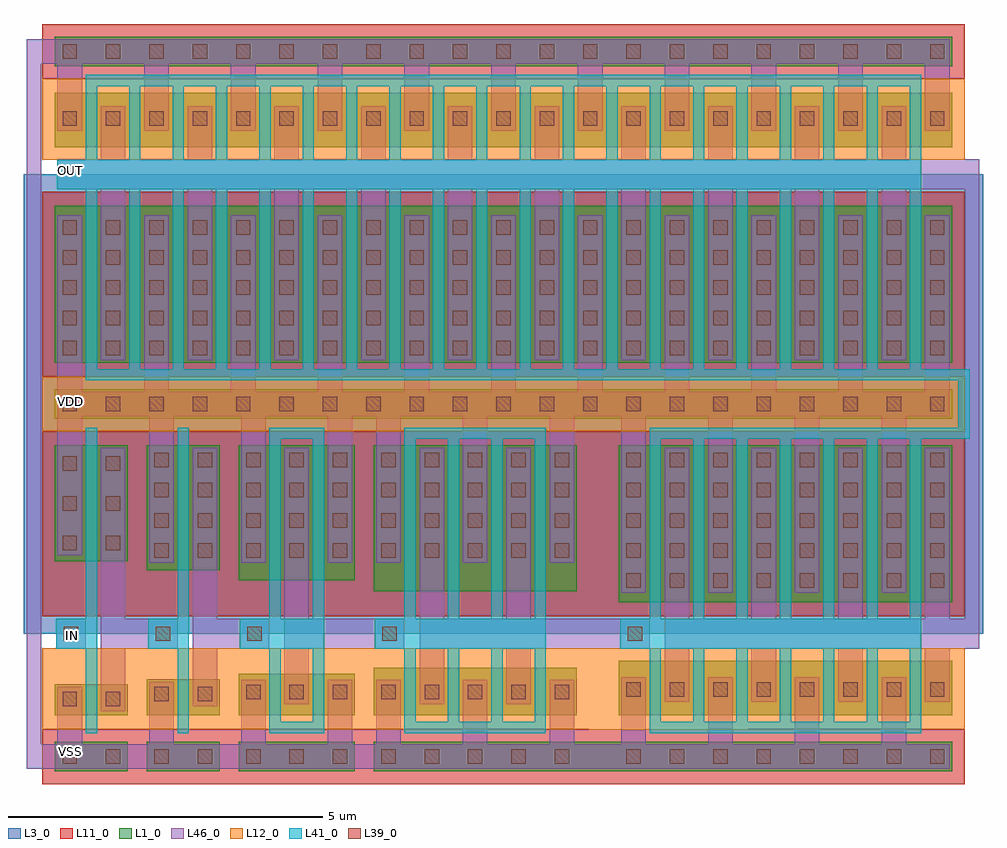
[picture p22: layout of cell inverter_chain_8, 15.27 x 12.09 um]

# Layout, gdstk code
import gdstk
lib = gdstk.Library(unit=1e-6, precision=1e-09)
def R(c, l, rs):  # rectangles x0, y0, x1, y1
    for r in rs: c.add(gdstk.rectangle(r[:2], r[2:], *l))
def A(c, l, x, y, w, h, nx, ny, dx, dy):  # array of equal rectangles
    R(c, l, [(x+i*dx, y+j*dy, x+i*dx+w, y+j*dy+h) for i in range(nx) for j in range(ny)])
L1_0 = (1, 0)
L3_0 = (3, 0)
L11_0 = (11, 0)
L12_0 = (12, 0)
L39_0 = (39, 0)
L41_0 = (41, 0)
L46_0 = (46, 0)

inverter_chain_8 = lib.new_cell('inverter_chain_8')
A(inverter_chain_8, L1_0, 2.6, 3.415, 1.85, 0.47, 7, 1, 1.38, 0)
A(inverter_chain_8, L1_0, 2.6, 4.305, 1.85, 2.5, 10, 1, 1.38, 0)
A(inverter_chain_8, L1_0, 2.6, 7.735, 1.85, 0.87, 10, 1, 1.38, 0)
A(inverter_chain_8, L1_0, 2.6, 9.025, 1.85, 0.47, 10, 1, 1.38, 0)
R(inverter_chain_8, L1_0, [(2.6,-2.195,3.76,-1.725), (4.06,-2.195,5.22,-1.725), (5.52,-2.195,7.37,-1.725), (7.67,-2.195,9.52,-1.725), (9.05,-2.195,10.9,-1.725), (10.88,-2.195,12.73,-1.725), (11.57,-2.195,13.42,-1.725), (12.95,-2.195,15.49,-1.725), (15.02,-2.195,16.87,-1.725), (2.6,-1.305,3.76,-0.805), (4.06,-1.305,5.22,-0.725), (5.52,-1.305,7.37,-0.645), (7.67,-1.305,9.52,-0.545), (9.05,-1.305,10.9,-0.545), (11.57,-1.305,13.42,-0.435), (12.95,-1.305,15.49,-0.435), (15.02,-1.305,16.87,-0.435), (11.57,0.495,13.42,2.995), (12.95,0.495,15.49,2.995), (15.02,0.495,16.87,2.995), (7.67,0.675,9.52,2.995), (9.05,0.675,10.9,2.995), (5.52,0.845,7.37,2.995), (4.06,1.005,5.22,2.995), (2.6,1.145,3.76,2.995), (11.57,3.415,13.42,3.885), (12.95,3.415,15.49,3.885), (15.02,3.415,16.87,3.885)])
A(inverter_chain_8, L3_0, 2.1, -0.005, 2.85, 7.31, 10, 1, 1.38, 0)
A(inverter_chain_8, L11_0, 2.4, 4.085, 2.25, 2.94, 10, 1, 1.38, 0)
A(inverter_chain_8, L11_0, 2.4, 8.825, 2.25, 0.87, 10, 1, 1.38, 0)
R(inverter_chain_8, L11_0, [(2.4,-2.395,3.96,-1.525), (3.86,-2.395,5.42,-1.525), (5.32,-2.395,7.57,-1.525), (7.47,-2.395,9.72,-1.525), (8.85,-2.395,11.1,-1.525), (10.68,-2.395,12.93,-1.525), (11.37,-2.395,13.62,-1.525), (12.75,-2.395,15,-1.525), (14.82,-2.395,17.07,-1.525), (15,-2.395,15.69,-1.525), (2.4,0.275,3.96,3.215), (3.86,0.275,5.42,3.215), (5.32,0.275,7.57,3.215), (7.47,0.275,9.72,3.215), (8.85,0.275,11.1,3.215), (10.68,0.275,12.93,3.215), (11.37,0.275,13.62,3.215), (11.37,0.275,15.69,3.215), (12.75,0.275,15,3.215), (14.82,0.275,17.07,3.215)])
A(inverter_chain_8, L12_0, 2.4, 3.215, 2.25, 0.87, 10, 1, 1.38, 0)
A(inverter_chain_8, L12_0, 2.4, 7.535, 2.25, 1.29, 10, 1, 1.38, 0)
R(inverter_chain_8, L12_0, [(11.1,-1.53,13.62,-0.235), (2.4,-1.525,4.65,-0.235), (2.4,-1.525,3.96,-0.235), (3.86,-1.525,5.42,-0.235), (5.32,-1.525,7.57,-0.235), (7.47,-1.525,9.72,-0.235), (8.85,-1.525,11.1,-0.235), (11.37,-1.525,15.69,-0.235), (12.75,-1.525,15,-0.235), (14.82,-1.525,17.07,-0.235)])
A(inverter_chain_8, L39_0, 5.64, -2.075, 0.23, 0.23, 3, 2, 0.69, 1.03)
A(inverter_chain_8, L39_0, 7.79, -2.075, 0.23, 0.23, 5, 2, 0.69, 1.03)
A(inverter_chain_8, L39_0, 11.69, -2.075, 0.23, 0.23, 3, 2, 0.69, 1.07)
A(inverter_chain_8, L39_0, 13.07, -2.075, 0.23, 0.23, 3, 2, 0.69, 1.07)
A(inverter_chain_8, L39_0, 14.45, -2.075, 0.23, 0.23, 4, 2, 0.69, 1.07)
A(inverter_chain_8, L39_0, 2.74, -0.12, 0.23, 0.23, 3, 1, 1.46, 0)
A(inverter_chain_8, L39_0, 11.69, 0.725, 0.23, 0.23, 3, 5, 0.69, 0.48)
A(inverter_chain_8, L39_0, 13.07, 0.725, 0.23, 0.23, 3, 5, 0.69, 0.48)
A(inverter_chain_8, L39_0, 14.45, 0.725, 0.23, 0.23, 4, 5, 0.69, 0.48)
A(inverter_chain_8, L39_0, 4.18, 1.205, 0.23, 0.23, 1, 4, 0, 0.48)
A(inverter_chain_8, L39_0, 4.87, 1.205, 0.23, 0.23, 1, 4, 0, 0.48)
A(inverter_chain_8, L39_0, 5.64, 1.205, 0.23, 0.23, 3, 4, 0.69, 0.48)
A(inverter_chain_8, L39_0, 7.79, 1.205, 0.23, 0.23, 5, 4, 0.69, 0.48)
A(inverter_chain_8, L39_0, 2.72, 1.325, 0.23, 0.23, 1, 3, 0, 0.63)
A(inverter_chain_8, L39_0, 3.41, 1.325, 0.23, 0.23, 1, 3, 0, 0.63)
A(inverter_chain_8, L39_0, 2.72, 3.535, 0.23, 0.23, 3, 2, 0.69, 0.89)
A(inverter_chain_8, L39_0, 4.1, 3.535, 0.23, 0.23, 3, 2, 0.69, 0.89)
A(inverter_chain_8, L39_0, 5.48, 3.535, 0.23, 0.23, 3, 2, 0.69, 0.89)
A(inverter_chain_8, L39_0, 6.86, 3.535, 0.23, 0.23, 3, 2, 0.69, 0.89)
A(inverter_chain_8, L39_0, 8.24, 3.535, 0.23, 0.23, 3, 2, 0.69, 0.89)
A(inverter_chain_8, L39_0, 9.62, 3.535, 0.23, 0.23, 3, 2, 0.69, 0.89)
A(inverter_chain_8, L39_0, 11.69, 3.535, 0.23, 0.23, 3, 1, 0.69, 0)
A(inverter_chain_8, L39_0, 13.07, 3.535, 0.23, 0.23, 3, 1, 0.69, 0)
A(inverter_chain_8, L39_0, 14.45, 3.535, 0.23, 0.23, 4, 1, 0.69, 0)
A(inverter_chain_8, L39_0, 11, 4.425, 0.23, 0.23, 3, 5, 0.69, 0.48)
A(inverter_chain_8, L39_0, 12.38, 4.425, 0.23, 0.23, 3, 5, 0.69, 0.48)
A(inverter_chain_8, L39_0, 13.76, 4.425, 0.23, 0.23, 5, 5, 0.69, 0.48)
A(inverter_chain_8, L39_0, 2.72, 4.905, 0.23, 0.23, 3, 4, 0.69, 0.48)
A(inverter_chain_8, L39_0, 4.1, 4.905, 0.23, 0.23, 3, 4, 0.69, 0.48)
A(inverter_chain_8, L39_0, 5.48, 4.905, 0.23, 0.23, 3, 4, 0.69, 0.48)
A(inverter_chain_8, L39_0, 6.86, 4.905, 0.23, 0.23, 3, 4, 0.69, 0.48)
A(inverter_chain_8, L39_0, 8.24, 4.905, 0.23, 0.23, 3, 4, 0.69, 0.48)
A(inverter_chain_8, L39_0, 9.62, 4.905, 0.23, 0.23, 3, 4, 0.69, 0.48)
A(inverter_chain_8, L39_0, 2.72, 8.075, 0.23, 0.23, 3, 2, 0.69, 1.07)
A(inverter_chain_8, L39_0, 4.1, 8.075, 0.23, 0.23, 3, 2, 0.69, 1.07)
A(inverter_chain_8, L39_0, 5.48, 8.075, 0.23, 0.23, 3, 2, 0.69, 1.07)
A(inverter_chain_8, L39_0, 6.86, 8.075, 0.23, 0.23, 3, 2, 0.69, 1.07)
A(inverter_chain_8, L39_0, 8.24, 8.075, 0.23, 0.23, 3, 2, 0.69, 1.07)
A(inverter_chain_8, L39_0, 9.62, 8.075, 0.23, 0.23, 3, 2, 0.69, 1.07)
A(inverter_chain_8, L39_0, 11, 8.075, 0.23, 0.23, 3, 2, 0.69, 1.07)
A(inverter_chain_8, L39_0, 12.38, 8.075, 0.23, 0.23, 3, 2, 0.69, 1.07)
A(inverter_chain_8, L39_0, 13.76, 8.075, 0.23, 0.23, 5, 2, 0.69, 1.07)
R(inverter_chain_8, L39_0, [(2.72,-2.075,2.95,-1.845), (3.41,-2.075,3.64,-1.845), (4.18,-2.075,4.41,-1.845), (4.87,-2.075,5.1,-1.845), (2.72,-1.155,2.95,-0.925), (3.41,-1.155,3.64,-0.925), (4.18,-1.075,4.41,-0.845), (4.87,-1.075,5.1,-0.845), (7.81,-0.12,8.04,0.11), (11.71,-0.12,11.94,0.11), (11,3.535,11.23,3.765), (11.69,3.535,11.92,3.765)])
A(inverter_chain_8, L41_0, 3.09, -1.585, 0.18, 4.86, 3, 1, 1.46, 0)
A(inverter_chain_8, L41_0, 8.16, -1.585, 0.18, 4.86, 4, 1, 0.69, 0)
A(inverter_chain_8, L41_0, 8.85, -1.585, 0.18, 1.35, 3, 1, 0.69, 0)
A(inverter_chain_8, L41_0, 12.75, -1.585, 0.18, 4.86, 6, 1, 0.69, 0)
A(inverter_chain_8, L41_0, 12.75, -1.585, 0.18, 1.35, 6, 1, 0.69, 0)
A(inverter_chain_8, L41_0, 3.09, 4.025, 0.87, 0.18, 8, 1, 1.38, 0)
A(inverter_chain_8, L41_0, 3.09, 4.025, 0.18, 4.86, 20, 1, 0.69, 0)
A(inverter_chain_8, L41_0, 3.09, 4.025, 0.18, 3, 17, 1, 0.69, 0)
R(inverter_chain_8, L41_0, [(6.01,-1.585,6.88,-1.405), (6.7,-1.585,6.88,3.275), (6.7,-1.585,6.88,-0.235), (8.16,-1.585,10.41,-1.405), (9.54,-1.585,10.41,-1.405), (12.06,-1.585,12.93,-1.405), (12.06,-1.585,12.24,3.115), (12.06,-1.585,16.38,-1.405), (15.51,-1.585,16.38,-1.405), (2.62,-0.24,3.09,0.23), (4.08,-0.24,4.55,0.23), (5.54,-0.24,6.7,0.23), (7.69,-0.24,10.41,0.23), (11.59,-0.24,16.38,0.23), (6.01,3.095,6.88,3.275), (8.16,3.095,10.41,3.275), (9.54,3.095,10.41,3.275), (12.06,3.095,15.92,3.275), (15.51,3.095,17.15,3.275), (16.97,3.095,17.15,4.205), (3.09,4.025,15.92,4.205), (15.51,4.025,15.69,7.025), (15.51,4.025,17.15,4.205), (16.2,4.025,16.38,7.025), (2.64,7.07,16.2,7.535), (3.09,8.705,15.69,8.885), (15.51,8.705,16.38,8.885)])
A(inverter_chain_8, L46_0, 7.71, -2.155, 0.39, 1.42, 3, 1, 1.38, 0)
A(inverter_chain_8, L46_0, 12.3, -1.085, 0.39, 4.04, 4, 1, 1.38, 0)
A(inverter_chain_8, L46_0, 7.71, 1.125, 0.39, 2.72, 3, 1, 1.38, 0)
A(inverter_chain_8, L46_0, 2.64, 3.455, 1.77, 0.39, 7, 1, 1.38, 0)
A(inverter_chain_8, L46_0, 13.68, 3.455, 0.39, 3.2, 3, 1, 1.38, 0)
A(inverter_chain_8, L46_0, 3.33, 4.345, 0.39, 4.04, 10, 1, 1.38, 0)
A(inverter_chain_8, L46_0, 13.68, 7.995, 0.39, 1.46, 3, 1, 1.38, 0)
A(inverter_chain_8, L46_0, 4.02, 9.065, 1.77, 0.39, 9, 1, 1.38, 0)
R(inverter_chain_8, L46_0, [(2.15,-2.155,3.72,-1.765), (2.15,-2.155,2.38,9.455), (2.64,-2.155,3.03,-0.845), (2.64,-2.155,12.69,-1.765), (4.1,-2.155,4.49,-0.765), (4.1,-2.155,5.18,-1.765), (5.56,-2.155,7.33,-1.765), (5.56,-2.155,5.95,-0.735), (6.94,-2.155,7.33,-0.735), (7.71,-2.155,9.48,-1.765), (9.09,-2.155,10.86,-1.765), (11.61,-2.155,13.38,-1.765), (11.61,-2.155,12,-0.695), (12.99,-2.155,13.38,-0.695), (12.99,-2.155,13.38,-0.695), (12.99,-2.155,15.45,-1.765), (14.37,-2.155,14.76,-0.695), (14.37,-2.155,14.76,-0.695), (15.06,-2.155,16.83,-1.765), (15.75,-2.155,16.14,-0.695), (3.33,-1.235,3.72,2.955), (4.79,-1.155,5.18,2.955), (6.25,-1.125,6.64,2.955), (8.4,-1.125,8.79,2.955), (9.78,-1.125,10.17,2.955), (2.62,-0.24,3.09,0.23), (3.33,-0.24,4.55,0.23), (4.79,-0.24,6.01,0.23), (6.25,-0.24,8.16,0.23), (8.4,-0.24,12.06,0.23), (12.3,-0.24,17.3,0.23), (17.07,-0.24,17.3,7.54), (11.61,0.645,12,3.845), (12.99,0.645,13.38,3.845), (12.99,0.645,13.38,3.845), (14.37,0.645,14.76,3.845), (14.37,0.645,14.76,3.845), (15.75,0.645,16.14,3.845), (4.1,1.125,4.49,3.845), (5.56,1.125,5.95,3.845), (6.94,1.125,7.33,3.845), (2.64,1.245,3.03,3.845), (2.64,3.455,3.03,6.655), (4.02,3.455,4.41,6.655), (4.02,3.455,4.41,6.655), (5.4,3.455,5.79,6.655), (5.4,3.455,5.79,6.655), (6.78,3.455,7.17,6.655), (6.78,3.455,7.17,6.655), (8.16,3.455,8.55,6.655), (8.16,3.455,8.55,6.655), (9.54,3.455,9.93,6.655), (9.54,3.455,9.93,6.655), (10.92,3.455,11.31,6.655), (10.92,3.455,11.31,6.655), (11.61,3.455,13.38,3.845), (12.3,3.455,12.69,6.655), (12.3,3.455,12.69,6.655), (12.99,3.455,15.45,3.845), (13.68,3.455,14.07,6.655), (15.06,3.455,16.83,3.845), (2.64,7.07,17.3,7.54), (2.64,7.995,3.03,9.455), (4.02,7.995,4.41,9.455), (4.02,7.995,4.41,9.455), (5.4,7.995,5.79,9.455), (5.4,7.995,5.79,9.455), (6.78,7.995,7.17,9.455), (6.78,7.995,7.17,9.455), (8.16,7.995,8.55,9.455), (8.16,7.995,8.55,9.455), (9.54,7.995,9.93,9.455), (9.54,7.995,9.93,9.455), (10.92,7.995,11.31,9.455), (10.92,7.995,11.31,9.455), (12.3,7.995,12.69,9.455), (12.3,7.995,12.69,9.455), (13.68,7.995,14.07,9.455), (2.15,9.065,4.41,9.455)])
inverter_chain_8.add(gdstk.Label('IN', (2.875,-0.025), layer=101, texttype=0))
inverter_chain_8.add(gdstk.Label('OUT', (2.845,7.36), layer=101, texttype=0))
inverter_chain_8.add(gdstk.Label('VDD', (2.845,3.685), layer=101, texttype=0))
inverter_chain_8.add(gdstk.Label('VSS', (2.845,-1.88), layer=101, texttype=0))

lib.write_gds('inverter_chain_8.gds')
